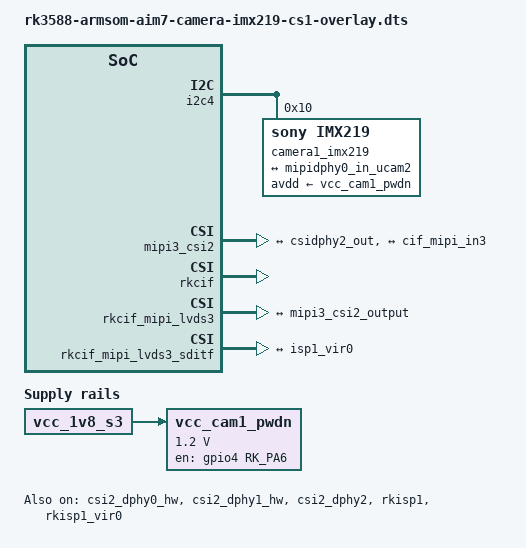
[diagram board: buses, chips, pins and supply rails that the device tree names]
/dts-v1/;
/plugin/;

#include <dt-bindings/clock/rk3588-cru.h>
#include <dt-bindings/power/rk3588-power.h>
#include <dt-bindings/gpio/gpio.h>
#include <dt-bindings/pinctrl/rockchip.h>

/*
 * AIM7 CS1 (J49), IMX219 on i2c4.
 * csi2_dphy2 -> mipi3_csi2 -> rkcif_mipi_lvds3 -> rkisp1_vir0.
 * Load independently or together with the other AIM7 per-connector overlays.
 */

/ {
	fragment@0 {
		target-path = "/";
		__overlay__ {
			/* Module enable: use the same regulator method as AIM5. */
			vcc_cam1_pwdn: vcc-cam1-pwdn {
				compatible = "regulator-fixed";
				regulator-name = "vcc_cam1_pwdn";
				regulator-min-microvolt = <1200000>;
				regulator-max-microvolt = <1200000>;
				regulator-boot-on;
				regulator-always-on;
				enable-active-high;
				vin-supply = <&vcc_1v8_s3>;
				gpio = <&gpio4 RK_PA6 GPIO_ACTIVE_HIGH>;
			};
		};
	};

	fragment@1 {
		target = <&i2c4>;
		__overlay__ {
			status = "okay";
			pinctrl-names = "default";
			pinctrl-0 = <&i2c4m2_xfer>;
			#address-cells = <1>;
			#size-cells = <0>;

			camera1_imx219: camera1-imx219@10 {
				status = "okay";
				compatible = "sony,imx219";
				reg = <0x10>;

				clocks = <&cru CLK_MIPI_CAMARAOUT_M1>;
				clock-names = "xvclk";
				pinctrl-names = "rockchip,camera_default";
				pinctrl-0 = <&mipim1_camera1_clk>;//gpio3_a6
				power-domains = <&power RK3588_PD_VI>;
				avdd-supply = <&vcc_cam1_pwdn>;

				rockchip,camera-module-index = <1>;
				rockchip,camera-module-facing = "back";
				rockchip,camera-module-name = "RADXA-CAMERA-8M";
				rockchip,camera-module-lens-name = "default";

				port {
					imx219_out1: endpoint {
						remote-endpoint = <&mipidphy0_in_ucam2>;
						data-lanes = <1 2>;
						clock-noncontinuous;
						link-frequencies = /bits/ 64 <456000000>;
					};
				};
			};
		};
	};

	fragment@2 {
		target = <&csi2_dphy0_hw>;

		__overlay__ {
			status = "okay";
		};
	};

	fragment@3 {
		target = <&csi2_dphy1_hw>;

		__overlay__ {
			status = "okay";
		};
	};

	fragment@4 {
		target = <&csi2_dphy2>;

		__overlay__ {
			status = "okay";
			ports {
				#address-cells = <1>;
				#size-cells = <0>;

				port@0 {
					reg = <0>;
					#address-cells = <1>;
					#size-cells = <0>;

					mipidphy0_in_ucam2: endpoint@1 {
						reg = <1>;
						remote-endpoint = <&imx219_out1>;
						data-lanes = <1 2>;
					};
				};

				port@1 {
					reg = <1>;
					#address-cells = <1>;
					#size-cells = <0>;

					csidphy2_out: endpoint@0 {
						reg = <0>;
						remote-endpoint = <&mipi3_csi2_input>;
					};
				};
			};
		};
	};

	fragment@5 {
		target = <&mipi3_csi2>;

		__overlay__ {
			status = "okay";
			ports {
				#address-cells = <1>;
				#size-cells = <0>;

				port@0 {
					reg = <0>;
					#address-cells = <1>;
					#size-cells = <0>;

					mipi3_csi2_input: endpoint@1 {
						reg = <1>;
						remote-endpoint = <&csidphy2_out>;
					};
				};

				port@1 {
					reg = <1>;
					#address-cells = <1>;
					#size-cells = <0>;

					mipi3_csi2_output: endpoint@0 {
						reg = <0>;
						remote-endpoint = <&cif_mipi_in3>;
					};
				};
			};
		};
	};

	fragment@6 {
		target = <&rkcif>;

		__overlay__ {
			status = "okay";
		};
	};

	fragment@7 {
		target = <&rkcif_mipi_lvds3>;

		__overlay__ {
			status = "okay";
			port {
				cif_mipi_in3: endpoint {
					remote-endpoint = <&mipi3_csi2_output>;
				};
			};
		};
	};

	fragment@8{
		target = <&rkcif_mipi_lvds3_sditf>;

		__overlay__ {
			status = "okay";
			port {
				mipi3_lvds_sditf: endpoint {
					remote-endpoint = <&isp1_vir0>;
				};
			};
		};
	};

	fragment@9{
		target = <&rkcif_mmu>;

		__overlay__ {
			status = "okay";
		};
	};

	fragment@10{
		target = <&rkisp1>;

		__overlay__ {
			status = "okay";
		};
	};

	fragment@11{
		target = <&isp1_mmu>;

		__overlay__ {
			status = "okay";
		};
	};

	fragment@12{
		target = <&rkisp1_vir0>;

		__overlay__ {
			status = "okay";
			port {
				#address-cells = <1>;
				#size-cells = <0>;

				isp1_vir0: endpoint@0 {
					reg = <0>;
					remote-endpoint = <&mipi3_lvds_sditf>;
				};
			};
		};
	};
};
